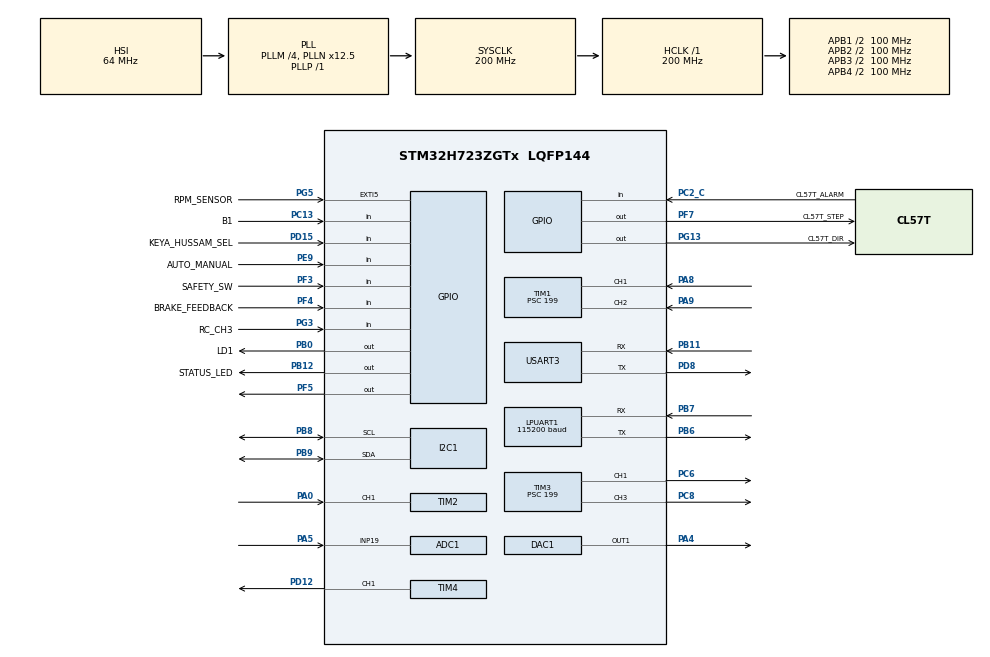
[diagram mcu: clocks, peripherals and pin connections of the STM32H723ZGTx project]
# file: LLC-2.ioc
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ADC1.Channel-1\#ChannelRegularConversion=ADC_CHANNEL_19
ADC1.ContinuousConvMode=ENABLE
ADC1.NbrOfConversionFlag=1
ADC1.OffsetNumber-1\#ChannelRegularConversion=ADC_OFFSET_NONE
ADC1.OffsetSignedSaturation-1\#ChannelRegularConversion=DISABLE
ADC1.Rank-1\#ChannelRegularConversion=1
ADC1.SamplingTime-1\#ChannelRegularConversion=ADC_SAMPLETIME_810CYCLES_5
ADC1.master=1
CORTEX_M7.default_mode_Activation=1
DAC1.DAC_Channel-DAC_OUT1=DAC_CHANNEL_1
I2C1.I2C_Coeff_DF=4
I2C1.Speed=50
I2C1.Timing=0x40408DFD
LPUART1.BaudRate=115200
Mcu.Family=STM32H7
Mcu.Name=STM32H723ZGTx
Mcu.Package=LQFP144
NVIC.LPUART1_IRQn=true\:0\:0\:false\:false\:true\:true\:true\:true
NVIC.PriorityGroup=NVIC_PRIORITYGROUP_4
NVIC.TIM17_IRQn=true\:0\:0\:false\:false\:true\:true\:true\:true
NVIC.TIM1_CC_IRQn=true\:0\:0\:false\:false\:true\:true\:true\:true
NVIC.TIM2_IRQn=true\:1\:0\:true\:false\:true\:true\:true\:true
PA0.GPIO_PuPd=GPIO_NOPULL
PA0.GPIO_Speed=GPIO_SPEED_FREQ_VERY_HIGH
PA0.Signal=S_TIM2_CH1_ETR
PA4.Signal=COMP_DAC11_group
PA5.Signal=ADCx_INP19
PA8.Signal=S_TIM1_CH1
PA9.Signal=S_TIM1_CH2
PB0.GPIO_Label=LD1
PB0.Signal=GPIO_Output
PB11.Mode=Asynchronous
PB11.Signal=USART3_RX
PB12.GPIO_Label=STATUS_LED
PB12.Signal=GPIO_Output
PB6.Mode=Asynchronous
PB6.Signal=LPUART1_TX
PB7.Mode=Asynchronous
PB7.Signal=LPUART1_RX
PB8.Mode=I2C
PB8.Signal=I2C1_SCL
PB9.Mode=I2C
PB9.Signal=I2C1_SDA
PC13.GPIO_Label=B1
PC13.GPIO_PuPd=GPIO_NOPULL
PC13.Signal=GPIO_Input
PC2_C.GPIO_Label=CL57T_ALARM
PC2_C.GPIO_PuPd=GPIO_PULLUP
PC2_C.Signal=GPIO_Input
PC6.Signal=S_TIM3_CH1
PC8.Signal=S_TIM3_CH3
PD12.Signal=S_TIM4_CH1
PD15.GPIO_Label=KEYA_HUSSAM_SEL
PD15.Signal=GPIO_Input
PD8.Mode=Asynchronous
PD8.Signal=USART3_TX
PE9.GPIO_Label=AUTO_MANUAL
PE9.GPIO_PuPd=GPIO_PULLDOWN
PE9.Signal=GPIO_Input
PF3.GPIO_Label=SAFETY_SW
PF3.GPIO_PuPd=GPIO_PULLDOWN
PF3.Signal=GPIO_Input
PF4.GPIO_Label=BRAKE_FEEDBACK
PF4.GPIO_PuPd=GPIO_PULLDOWN
PF4.Signal=GPIO_Input
PF5.Signal=GPIO_Output
PF7.GPIO_Label=CL57T_STEP
PF7.Signal=GPIO_Output
PG13.GPIO_Label=CL57T_DIR
PG13.Signal=GPIO_Output
PG3.GPIO_Label=RC_CH3
PG3.GPIO_PuPd=GPIO_PULLDOWN
PG3.Signal=GPIO_Input
PG5.GPIO_Label=RPM_SENSOR
PG5.GPIO_ModeDefaultEXTI=GPIO_MODE_IT_RISING
PG5.Signal=GPXTI5
PH0-OSC_IN.Mode=HSE-External-Oscillator
PH0-OSC_IN.Signal=RCC_OSC_IN
PH1-OSC_OUT.Mode=HSE-External-Oscillator
PH1-OSC_OUT.Signal=RCC_OSC_OUT
ProjectManager.HeapSize=0x200
ProjectManager.StackSize=0x400
ProjectManager.TargetToolchain=STM32CubeIDE
RCC.ADCFreq_Value=129000000
RCC.APB1Freq_Value=100000000
RCC.APB2Freq_Value=100000000
RCC.APB3Freq_Value=100000000
RCC.APB4Freq_Value=100000000
RCC.CortexFreq_Value=200000000
RCC.D1PPRE=RCC_APB3_DIV2
RCC.D2PPRE1=RCC_APB1_DIV2
RCC.D2PPRE2=RCC_APB2_DIV2
RCC.D3PPRE=RCC_APB4_DIV2
RCC.DIVM1=4
RCC.DIVN1=12
RCC.DIVP1=1
RCC.HCLKFreq_Value=200000000
RCC.HSE_VALUE=25000000
RCC.PLL2FRACN=0
RCC.PLL3FRACN=0
RCC.PLLFRACN=4096
RCC.SYSCLKFreq_VALUE=200000000
RCC.SYSCLKSource=RCC_SYSCLKSOURCE_PLLCLK
RCC.USBFreq_Value=100000000
SH.ADCx_INP19.0=ADC1_INP19,IN19-Single-Ended
SH.COMP_DAC11_group.0=DAC1_OUT1,DAC_OUT1
SH.S_TIM1_CH1.0=TIM1_CH1,Input_Capture1_from_TI1
SH.S_TIM1_CH2.0=TIM1_CH2,Input_Capture2_from_TI2
SH.S_TIM2_CH1_ETR.0=TIM2_CH1,Input_Capture1_from_TI1
SH.S_TIM3_CH1.0=TIM3_CH1,PWM Generation1 CH1
SH.S_TIM3_CH3.0=TIM3_CH3,PWM Generation3 CH3
SH.S_TIM4_CH1.0=TIM4_CH1,PWM Generation1 CH1
TIM1.AutoReloadPreload=TIM_AUTORELOAD_PRELOAD_ENABLE
TIM1.Channel-Input_Capture1_from_TI1=TIM_CHANNEL_1
TIM1.Channel-Input_Capture2_from_TI2=TIM_CHANNEL_2
TIM1.ICPolarity_CH1=TIM_INPUTCHANNELPOLARITY_BOTHEDGE
TIM1.ICPolarity_CH2=TIM_INPUTCHANNELPOLARITY_BOTHEDGE
TIM1.Prescaler=199
TIM17.AutoReloadPreload=TIM_AUTORELOAD_PRELOAD_ENABLE
TIM17.Period=999
TIM17.Prescaler=199
TIM2.AutoReloadPreload=TIM_AUTORELOAD_PRELOAD_ENABLE
TIM2.Channel-Input_Capture1_from_TI1=TIM_CHANNEL_1
TIM2.Prescaler=199
TIM3.AutoReloadPreload=TIM_AUTORELOAD_PRELOAD_ENABLE
TIM3.Channel-PWM\ Generation1\ CH1=TIM_CHANNEL_1
TIM3.Channel-PWM\ Generation3\ CH3=TIM_CHANNEL_3
TIM3.OCPolarity_3=TIM_OCPOLARITY_LOW
TIM3.Period=19999
TIM3.Prescaler=199
TIM3.Pulse-PWM\ Generation1\ CH1=1500
TIM4.AutoReloadPreload=TIM_AUTORELOAD_PRELOAD_ENABLE
TIM4.Channel-PWM\ Generation1\ CH1=TIM_CHANNEL_1
TIM4.OCPolarity_1=TIM_OCPOLARITY_LOW
TIM4.Period=999
TIM4.Prescaler=199
TIM4.Pulse-PWM\ Generation1\ CH1=500
USART3.VirtualMode-Asynchronous=VM_ASYNC
VP_MEMORYMAP_VS_MEMORYMAP.Mode=CurAppReg
VP_TIM17_VS_ClockSourceINT.Mode=Enable_Timer
board=custom

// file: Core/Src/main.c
/* USER CODE BEGIN Header */
/**
  ******************************************************************************
  * @file           : main.c
  * @brief          : Main program body
  ******************************************************************************
  * @attention
  *
  * Copyright (c) 2026 STMicroelectronics.
  * All rights reserved.
  *
  * This software is licensed under terms that can be found in the LICENSE file
  * in the root directory of this software component.
  * If no LICENSE file comes with this software, it is provided AS-IS.
  *
  ******************************************************************************
  */
/* USER CODE END Header */
#include "main.h"

/* USER CODE BEGIN Includes */
#include <stdio.h>
/* USER CODE END Includes */

/* USER CODE BEGIN PD */
#define STEERING_ZERO_DEG   -32.0f
#define STEERING_LEFT_DEG   -57.0f  // -32 - 25 = -57
#define STEERING_RIGHT_DEG   -7.0f  // -32 + 25 = -7
/* USER CODE END PD */

ADC_HandleTypeDef hadc1;

DAC_HandleTypeDef hdac1;

I2C_HandleTypeDef hi2c1;

UART_HandleTypeDef hlpuart1;
UART_HandleTypeDef huart3;

TIM_HandleTypeDef htim1;
TIM_HandleTypeDef htim2;
TIM_HandleTypeDef htim3;
TIM_HandleTypeDef htim4;
TIM_HandleTypeDef htim17;

/* USER CODE BEGIN PV */

uint32_t startup_lockout_ms = 3000; // ignore RC for 3s after boot

volatile uint32_t rc_ch2_rising = 0;
volatile uint32_t rc_ch2_pulse = 0;
volatile uint8_t rc_ch2_ready = 0;

volatile uint32_t rc_ch1_rising = 0;
volatile uint32_t rc_ch1_pulse = 0;
volatile uint8_t rc_ch1_ready = 0;

volatile int32_t stepper_position = 0;
volatile int32_t stepper_target = 0;
volatile uint32_t stepper_delay_us = 500;

// Speed measurement
#define PULSES_PER_REV       4
#define WHEEL_CIRCUMFERENCE  1.52f
#define SPEED_TIMEOUT_MS     500

volatile uint32_t rpm_pulse_count = 0;
volatile uint32_t rpm_last_tick = 0;
volatile uint32_t rpm_last_interval_us = 0;
volatile uint32_t rpm_pulse_pending = 0;

float speed_kmh = 0.0f;
float speed_rpm = 0.0f;
float distance_km = 0.0f;
volatile uint32_t total_pulses = 0;

volatile uint32_t tim2_last_capture = 0;
volatile uint32_t tim2_interval_us = 0;
volatile uint8_t tim2_new_pulse = 0;

volatile uint8_t tim2_led_pulse = 0;

volatile uint8_t uart_tx_busy = 0;

// Jetson UART protocol
#define JETSON_START_BYTE   0xAA
#define JETSON_FRAME_LEN    5
#define CMD_IDLE            0x00
#define CMD_THROTTLE        0x01
#define CMD_BRAKE           0x02
#define CMD_STEER 0x03
#define JETSON_WATCHDOG_MS  200

uint8_t jetson_rx_buf[1];           // single byte DMA/interrupt receive
uint8_t jetson_frame[5];            // assembled frame
uint8_t jetson_frame_idx = 0;       // current byte index
volatile uint32_t jetson_last_valid = 0; // last valid frame timestamp
volatile uint8_t jetson_active = 0; // 1 = jetson control, 0 = manual/idle

uint16_t as5600_angle_raw = 0;
float as5600_angle_deg = 0.0f;

#define AS5600_ZERO_OFFSET 0

volatile uint8_t speed_tx_pending = 0;
uint8_t speed_tx_buf[5];

uint8_t led_effects_enabled = 0; // 1 = situational flashing, 0 = always steady ON

uint8_t clutch_state = 0;

float target_speed_kmh = 0.0f;
float speed_error_integral = 0.0f;
#define SPEED_KP 90.0f
#define SPEED_KI 180.0f
#define SPEED_MAX_KMH 30.0f

#define JETSON_STEER_MAX_DEG 25.0f
float smoothed_target_angle = 0.0f;
#define STEER_SMOOTH_RATE 25.0f
float actual_angle_deg = 0.0f;
float target_angle_deg = 0.0f;

float displayed_target_speed = 0.0f; // rate-limited version

/* USER CODE END PV */

void SystemClock_Config(void);
static void MPU_Config(void);
static void MX_GPIO_Init(void);
static void MX_DAC1_Init(void);
static void MX_I2C1_Init(void);
static void MX_LPUART1_UART_Init(void);
static void MX_TIM1_Init(void);
static void MX_TIM3_Init(void);
static void MX_TIM4_Init(void);
static void MX_USART3_UART_Init(void);
static void MX_ADC1_Init(void);
static void MX_TIM17_Init(void);
static void MX_TIM2_Init(void);

/* USER CODE BEGIN PFP */
void update_speed(void);
uint16_t AS5600_ReadAngle(void);
uint8_t crc8_smbus(uint8_t *data, uint8_t len);
/* USER CODE END PFP */

/* USER CODE BEGIN 0 */
#define DWT_DELAY_US(us) do { \
    uint32_t start = DWT->CYCCNT; \
    uint32_t cycles = (us) * (SystemCoreClock / 1000000); \
    while ((DWT->CYCCNT - start) < cycles); \
} while(0)
/* USER CODE END 0 */

int main(void)
{

  /* MPU Configuration--------------------------------------------------------*/
  MPU_Config();

  /* MCU Configuration--------------------------------------------------------*/

  /* Reset of all peripherals, Initializes the Flash interface and the Systick. */
  HAL_Init();

  /* Configure the system clock */
  SystemClock_Config();

  /* Initialize all configured peripherals */
  MX_GPIO_Init();
  MX_DAC1_Init();
  MX_I2C1_Init();
  MX_LPUART1_UART_Init();
  MX_TIM1_Init();
  MX_TIM3_Init();
  MX_TIM4_Init();
  MX_USART3_UART_Init();
  MX_ADC1_Init();
  MX_TIM17_Init();
  MX_TIM2_Init();
  /* USER CODE BEGIN 2 */
//  HAL_TIM_PWM_Start(&htim3, TIM_CHANNEL_3);
//  __HAL_TIM_SET_COMPARE(&htim3, TIM_CHANNEL_3, 1500); // neutral arm
//  HAL_Delay(2000);
//  __HAL_TIM_SET_COMPARE(&htim3, TIM_CHANNEL_3, 0);

  HAL_DAC_Start(&hdac1, DAC_CHANNEL_1);
  HAL_TIM_IC_Start_IT(&htim1, TIM_CHANNEL_1);
  HAL_TIM_IC_Start_IT(&htim1, TIM_CHANNEL_2);
  HAL_TIM_PWM_Start(&htim3, TIM_CHANNEL_1);
  __HAL_TIM_SET_COMPARE(&htim3, TIM_CHANNEL_1, 1833);
  HAL_TIM_PWM_Start(&htim3, TIM_CHANNEL_3);
  HAL_TIM_IC_Start_IT(&htim2, TIM_CHANNEL_1);
  HAL_TIM_Base_Start_IT(&htim17);  // stepper timer interrupt

  CoreDebug->DEMCR |= CoreDebug_DEMCR_TRCENA_Msk;
  DWT->CYCCNT = 0;
  DWT->CTRL |= DWT_CTRL_CYCCNTENA_Msk;

  rpm_last_tick = HAL_GetTick();

  HAL_UART_Receive_IT(&hlpuart1, jetson_rx_buf, 1);  // start UART receive interrupt

  // Safety startup delay — hold all outputs at zero for 2 seconds
  target_speed_kmh = 0.0f;
  speed_error_integral = 0.0f;
  jetson_active = 0;
  __HAL_TIM_SET_COMPARE(&htim3, TIM_CHANNEL_3, 0);
  __HAL_TIM_SET_COMPARE(&htim3, TIM_CHANNEL_1, 1833);
  HAL_Delay(2000);
  /* USER CODE END 2 */

  /* Infinite loop */
  while (1)
  {

    /* USER CODE BEGIN 3 */

	  // Status LED — brake/throttle/idle indicator
	  // Status LED
	  static uint32_t led_blink_last = 0;

	  if (!led_effects_enabled)
	  {
	      // Always steady ON
	      HAL_GPIO_WritePin(STATUS_LED_GPIO_Port, STATUS_LED_Pin, GPIO_PIN_SET);
	  }
	  else if (!jetson_active)
	  {
	      // IDLE mode — slow flash 500ms
	      if (HAL_GetTick() - led_blink_last > 500)
	      {
	          led_blink_last = HAL_GetTick();
	          HAL_GPIO_TogglePin(STATUS_LED_GPIO_Port, STATUS_LED_Pin);
	      }
	  }
	  else if (__HAL_TIM_GET_COMPARE(&htim3, TIM_CHANNEL_1) > 1200)
	  {
	      // Brake active — flash 250ms
	      if (HAL_GetTick() - led_blink_last > 250)
	      {
	          led_blink_last = HAL_GetTick();
	          HAL_GPIO_TogglePin(STATUS_LED_GPIO_Port, STATUS_LED_Pin);
	      }
	  }
	  else if (speed_kmh > 0.5f)
	  {
	      // Running — solid ON
	      HAL_GPIO_WritePin(STATUS_LED_GPIO_Port, STATUS_LED_Pin, GPIO_PIN_SET);
	  }
	  else
	  {
	      // Full stop — solid ON
	      HAL_GPIO_WritePin(STATUS_LED_GPIO_Port, STATUS_LED_Pin, GPIO_PIN_SET);
	  }

	  // Send speed to Jetson + serial monitor every 100ms
	  static uint32_t last_speed_tx = 0;
	  if (HAL_GetTick() - last_speed_tx > 500)
	  {
	      last_speed_tx = HAL_GetTick();
	      printf("Target: %d.%02d | Actual: %d.%02d km/h | Angle: %d deg | SteerTarget: %d | tick:%lu\r\n",
	             (int)target_speed_kmh,
	             (int)((target_speed_kmh - (int)target_speed_kmh) * 100),
	             (int)speed_kmh,
	             (int)((speed_kmh - (int)speed_kmh) * 100),
	             (int)actual_angle_deg,
	             (int)target_angle_deg,
	             HAL_GetTick());

	      uint8_t speed_byte = (uint8_t)(speed_kmh * 10.0f);
	      uint8_t payload[3] = {0x02, 0x10, speed_byte};
	      uint8_t crc = crc8_smbus(payload, 3);
	      speed_tx_buf[0] = 0xBB;
	      speed_tx_buf[1] = 0x02;
	      speed_tx_buf[2] = 0x10;
	      speed_tx_buf[3] = speed_byte;
	      speed_tx_buf[4] = crc;
	      speed_tx_pending = 1;
	  }

	  if (speed_tx_pending && !uart_tx_busy)
	  {
	      speed_tx_pending = 0;
	      uart_tx_busy = 1;
	      HAL_UART_Transmit_IT(&hlpuart1, speed_tx_buf, 5);
	  }

	  // AS5600 angle read + steering PD controller
	  static uint32_t last_angle_read = 0;
	  if (HAL_GetTick() - last_angle_read > 10)
	  {
	      last_angle_read = HAL_GetTick();
	      as5600_angle_raw = AS5600_ReadAngle();
	      int16_t raw_signed = (int16_t)as5600_angle_raw;
	      if (raw_signed > 2048) raw_signed -= 4096;
	      actual_angle_deg = (raw_signed * 360.0f / 4096.0f) - STEERING_ZERO_DEG;

	      // Smooth target angle changes
	      if (target_angle_deg > smoothed_target_angle + STEER_SMOOTH_RATE)
	          smoothed_target_angle += STEER_SMOOTH_RATE;
	      else if (target_angle_deg < smoothed_target_angle - STEER_SMOOTH_RATE)
	          smoothed_target_angle -= STEER_SMOOTH_RATE;
	      else
	          smoothed_target_angle = target_angle_deg;

	      // Don't let smoothed target get more than 5° ahead of actual
	      float max_lead = 20.0f;
	      if (smoothed_target_angle > actual_angle_deg + max_lead)
	          smoothed_target_angle = actual_angle_deg + max_lead;
	      if (smoothed_target_angle < actual_angle_deg - max_lead)
	          smoothed_target_angle = actual_angle_deg - max_lead;

	      // Clamp to physical limits
	      float left_limit  = STEERING_LEFT_DEG  - STEERING_ZERO_DEG;
	      float right_limit = STEERING_RIGHT_DEG - STEERING_ZERO_DEG;
	      if (smoothed_target_angle < left_limit)  smoothed_target_angle = left_limit;
	      if (smoothed_target_angle > right_limit) smoothed_target_angle = right_limit;

	      if (jetson_active)
	      {
	          static float last_error = 0.0f;
	          float error = smoothed_target_angle - actual_angle_deg;
	          float derivative = error - last_error;
	          last_error = error;

	          float Kp = 15.0f;
	          float Kd = 0.0f;
	          float output = Kp * error + Kd * derivative;

	          // Clamp output to ±100 (like RC pulse range)
	          if (output > 100.0f)  output = 100.0f;
	          if (output < -100.0f) output = -100.0f;

	          float abs_output = output < 0 ? -output : output;

	          if (abs_output > 18.0f) // deadband
	          {
	              // Map output 2-100 → delay 200-30µs
	              uint32_t delay = (uint32_t)(300.0f - ((abs_output - 18.0f) / 98.0f) * 300.0f);
	              if (delay < 200)  delay = 200;
	              if (delay > 500) delay = 500;

	              int8_t new_direction = (output > 0) ? -1 : 1;

	              // Direction change — kick to overcome backlash
	              static int8_t last_direction = 0;
	              static uint32_t kick_start = 0;
	              static uint8_t kicking = 0;

	              if (new_direction != last_direction && last_direction != 0)
	              {
	                  kicking = 1;
	                  kick_start = HAL_GetTick();
	              }
	              last_direction = new_direction;

	              if (kicking)
	              {
	                  delay = 10; // full speed during kick *changed - was 30
	                  if (HAL_GetTick() - kick_start > 80) // kick lasts 80ms
	                      kicking = 0;
	              }

	              stepper_delay_us = delay;
	              stepper_target = new_direction;
	          }
	          else
	          {
	              stepper_target = 0;
	              stepper_delay_us = 200;
	          }
	      }
	  }

	  HAL_GPIO_WritePin(LD1_GPIO_Port, LD1_Pin,
	      actual_angle_deg > 0.0f ? GPIO_PIN_SET : GPIO_PIN_RESET);

	  update_speed();

	  // RC CH1 → stepper — encoder limited

	  if (!jetson_active && rc_ch1_ready && HAL_GetTick() > startup_lockout_ms)
	  {
	      rc_ch1_ready = 0;
	      uint32_t pulse = rc_ch1_pulse;

	      if (pulse >= 800 && pulse <= 2200)
	      {
	          if (pulse < 1000) pulse = 1000;
	          if (pulse > 2000) pulse = 2000;

	          if (pulse > 1550)
	          {
	              stepper_target = 1;
	              stepper_delay_us = 500 - ((pulse - 1550) * (500 - 50)) / 450;
	          }
	          else if (pulse < 1450)
	          {
	              stepper_target = -1;
	              stepper_delay_us = 500 - ((1450 - pulse) * (500 - 50)) / 450;
	          }
	          else
	          {
	              stepper_target = 0;
	              stepper_delay_us = 500;
	          }
	      }
	  }

	  if (!clutch_state)
	      stepper_target = 0;

	  // RC CH2 → Keya throttle + brake servo
	  if (rc_ch2_ready && HAL_GetTick() > startup_lockout_ms)
	  {
	      rc_ch2_ready = 0;
	      uint32_t pulse = rc_ch2_pulse;
	      uint32_t servo_ccr;

	      if (pulse >= 800 && pulse <= 2200)
	      {
	          if (pulse < 1450)
	          {
	              jetson_active = 0;
	              target_speed_kmh = 0.0f;
	              speed_error_integral = 0.0f;
	              displayed_target_speed = 0.0f;
	              __HAL_TIM_SET_COMPARE(&htim3, TIM_CHANNEL_3, 0);
	              if (pulse < 1000) pulse = 1000;
	              servo_ccr = 1833 - ((1450 - pulse) * (1833 - 500)) / 450;
	              static uint32_t last_servo_ccr = 500;
	              if (servo_ccr > last_servo_ccr + 20 || servo_ccr + 20 < last_servo_ccr)
	              {
	                  __HAL_TIM_SET_COMPARE(&htim3, TIM_CHANNEL_1, servo_ccr);
	                  last_servo_ccr = servo_ccr;
	              }
	          }
	          else if (!jetson_active)
	          {
	              if (pulse > 2000) pulse = 2000;
	              target_speed_kmh = pulse > 1500 ?
	                  ((pulse - 1500) * SPEED_MAX_KMH) / 500.0f : 0.0f;

	              servo_ccr = 500;
	              static uint32_t last_servo_ccr2 = 500;
	              if (servo_ccr > last_servo_ccr2 + 20 || servo_ccr + 20 < last_servo_ccr2)
	              {
	                  __HAL_TIM_SET_COMPARE(&htim3, TIM_CHANNEL_1, servo_ccr);
	                  last_servo_ccr2 = servo_ccr;
	              }
	          }
	      }
	  }
	  else
	  {
	      rc_ch2_ready = 0;
	      if (HAL_GetTick() <= startup_lockout_ms)
	      {
	          target_speed_kmh = 0.0f;
	          speed_error_integral = 0.0f;
	          displayed_target_speed = 0.0f;
	      }
	  }

	  // PI speed controller — runs every 20ms, outside RC block
	  static uint32_t last_pi_tick = 0;
	  if (HAL_GetTick() - last_pi_tick >= 20)
	  {
	      last_pi_tick = HAL_GetTick();

	      // Rate limit target
	      float max_step = 2.0f;
	      if (target_speed_kmh > displayed_target_speed + max_step)
	          displayed_target_speed += max_step;
	      else if (target_speed_kmh < displayed_target_speed - max_step)
	          displayed_target_speed -= max_step;
	      else
	          displayed_target_speed = target_speed_kmh;

	      float speed_error = displayed_target_speed - speed_kmh;

	      if (displayed_target_speed < 0.5f)
	      {
	          speed_error_integral = 0.0f;
	          __HAL_TIM_SET_COMPARE(&htim3, TIM_CHANNEL_3, 0);
	      }
	      else
	      {
	          speed_error_integral += speed_error * 0.02f;
	          if (speed_error_integral > 19999.0f) speed_error_integral = 19999.0f;
	          if (speed_error_integral < 0.0f) speed_error_integral = 0.0f;
	          float output = SPEED_KP * speed_error + SPEED_KI * speed_error_integral;
	          if (output > 19999.0f) output = 19999.0f;
	          if (output < 0.0f) output = 0.0f;
	          __HAL_TIM_SET_COMPARE(&htim3, TIM_CHANNEL_3, (uint32_t)output);
	      }
	  }

	  // B1 button → EM clutch toggle
	  static uint8_t last_b1 = 0;
	  uint8_t b1 = HAL_GPIO_ReadPin(GPIOC, GPIO_PIN_13);

	  if (b1 == GPIO_PIN_SET && last_b1 == GPIO_PIN_RESET)
	  {
	      clutch_state = !clutch_state;
	      HAL_GPIO_WritePin(GPIOF, GPIO_PIN_5, clutch_state ? GPIO_PIN_SET : GPIO_PIN_RESET);

	      // Release brake when clutch disengages
	      if (!clutch_state)
	      {
	          target_speed_kmh = 0.0f;
	          speed_error_integral = 0.0f;
	          __HAL_TIM_SET_COMPARE(&htim3, TIM_CHANNEL_3, 0);
	          __HAL_TIM_SET_COMPARE(&htim3, TIM_CHANNEL_1, 1833);
	      }
	  }
	  last_b1 = b1;

	  // Jetson watchdog **changed (added watchdog)
//	  if (jetson_active && (HAL_GetTick() - jetson_last_valid > JETSON_WATCHDOG_MS))
//	  {
//	      jetson_active = 0;
//	      target_speed_kmh = 0.0f;
//	      speed_error_integral = 0.0f;
//	      displayed_target_speed = 0.0f;
//	      target_angle_deg = 0.0f;
//	      smoothed_target_angle = 0.0f;
//	      stepper_target = 0;
//	      __HAL_TIM_SET_COMPARE(&htim3, TIM_CHANNEL_3, 0);
//	      __HAL_TIM_SET_COMPARE(&htim3, TIM_CHANNEL_1, 1833);
//	  }

  }
  /* USER CODE END 3 */
}

void SystemClock_Config(void)
{
  RCC_OscInitTypeDef RCC_OscInitStruct = {0};
  RCC_ClkInitTypeDef RCC_ClkInitStruct = {0};

  /** Supply configuration update enable
  */
  HAL_PWREx_ConfigSupply(PWR_LDO_SUPPLY);

  /** Configure the main internal regulator output voltage
  */
  __HAL_PWR_VOLTAGESCALING_CONFIG(PWR_REGULATOR_VOLTAGE_SCALE1);

  while(!__HAL_PWR_GET_FLAG(PWR_FLAG_VOSRDY)) {}

  /** Initializes the RCC Oscillators according to the specified parameters
  * in the RCC_OscInitTypeDef structure.
  */
  RCC_OscInitStruct.OscillatorType = RCC_OSCILLATORTYPE_HSI;
  RCC_OscInitStruct.HSIState = RCC_HSI_DIV1;
  RCC_OscInitStruct.HSICalibrationValue = 64;
  RCC_OscInitStruct.PLL.PLLState = RCC_PLL_ON;
  RCC_OscInitStruct.PLL.PLLSource = RCC_PLLSOURCE_HSI;
  RCC_OscInitStruct.PLL.PLLM = 4;
  RCC_OscInitStruct.PLL.PLLN = 12;
  RCC_OscInitStruct.PLL.PLLP = 1;
  RCC_OscInitStruct.PLL.PLLQ = 2;
  RCC_OscInitStruct.PLL.PLLR = 2;
  RCC_OscInitStruct.PLL.PLLRGE = RCC_PLL1VCIRANGE_3;
  RCC_OscInitStruct.PLL.PLLVCOSEL = RCC_PLL1VCOWIDE;
  RCC_OscInitStruct.PLL.PLLFRACN = 4096;
  if (HAL_RCC_OscConfig(&RCC_OscInitStruct) != HAL_OK)
  {
    Error_Handler();
  }

  /** Initializes the CPU, AHB and APB buses clocks
  */
  RCC_ClkInitStruct.ClockType = RCC_CLOCKTYPE_HCLK|RCC_CLOCKTYPE_SYSCLK
                              |RCC_CLOCKTYPE_PCLK1|RCC_CLOCKTYPE_PCLK2
                              |RCC_CLOCKTYPE_D3PCLK1|RCC_CLOCKTYPE_D1PCLK1;
  RCC_ClkInitStruct.SYSCLKSource = RCC_SYSCLKSOURCE_PLLCLK;
  RCC_ClkInitStruct.SYSCLKDivider = RCC_SYSCLK_DIV1;
  RCC_ClkInitStruct.AHBCLKDivider = RCC_HCLK_DIV1;
  RCC_ClkInitStruct.APB3CLKDivider = RCC_APB3_DIV2;
  RCC_ClkInitStruct.APB1CLKDivider = RCC_APB1_DIV2;
  RCC_ClkInitStruct.APB2CLKDivider = RCC_APB2_DIV2;
  RCC_ClkInitStruct.APB4CLKDivider = RCC_APB4_DIV2;

  if (HAL_RCC_ClockConfig(&RCC_ClkInitStruct, FLASH_LATENCY_2) != HAL_OK)
  {
    Error_Handler();
  }
}

static void MX_ADC1_Init(void)
{

  ADC_MultiModeTypeDef multimode = {0};
  ADC_ChannelConfTypeDef sConfig = {0};

  /** Common config
  */
  hadc1.Instance = ADC1;
  hadc1.Init.ClockPrescaler = ADC_CLOCK_ASYNC_DIV1;
  hadc1.Init.Resolution = ADC_RESOLUTION_16B;
  hadc1.Init.ScanConvMode = ADC_SCAN_DISABLE;
  hadc1.Init.EOCSelection = ADC_EOC_SINGLE_CONV;
  hadc1.Init.LowPowerAutoWait = DISABLE;
  hadc1.Init.ContinuousConvMode = ENABLE;
  hadc1.Init.NbrOfConversion = 1;
  hadc1.Init.DiscontinuousConvMode = DISABLE;
  hadc1.Init.ExternalTrigConv = ADC_SOFTWARE_START;
  hadc1.Init.ExternalTrigConvEdge = ADC_EXTERNALTRIGCONVEDGE_NONE;
  hadc1.Init.ConversionDataManagement = ADC_CONVERSIONDATA_DR;
  hadc1.Init.Overrun = ADC_OVR_DATA_PRESERVED;
  hadc1.Init.LeftBitShift = ADC_LEFTBITSHIFT_NONE;
  hadc1.Init.OversamplingMode = DISABLE;
  hadc1.Init.Oversampling.Ratio = 1;
  if (HAL_ADC_Init(&hadc1) != HAL_OK)
  {
    Error_Handler();
  }

  /** Configure the ADC multi-mode
  */
  multimode.Mode = ADC_MODE_INDEPENDENT;
  if (HAL_ADCEx_MultiModeConfigChannel(&hadc1, &multimode) != HAL_OK)
  {
    Error_Handler();
  }

  /** Configure Regular Channel
  */
  sConfig.Channel = ADC_CHANNEL_19;
  sConfig.Rank = ADC_REGULAR_RANK_1;
  sConfig.SamplingTime = ADC_SAMPLETIME_810CYCLES_5;
  sConfig.SingleDiff = ADC_SINGLE_ENDED;
  sConfig.OffsetNumber = ADC_OFFSET_NONE;
  sConfig.Offset = 0;
  sConfig.OffsetSignedSaturation = DISABLE;
  if (HAL_ADC_ConfigChannel(&hadc1, &sConfig) != HAL_OK)
  {
    Error_Handler();
  }

}

static void MX_DAC1_Init(void)
{

  DAC_ChannelConfTypeDef sConfig = {0};

  /** DAC Initialization
  */
  hdac1.Instance = DAC1;
  if (HAL_DAC_Init(&hdac1) != HAL_OK)
  {
    Error_Handler();
  }

  /** DAC channel OUT1 config
  */
  sConfig.DAC_SampleAndHold = DAC_SAMPLEANDHOLD_DISABLE;
  sConfig.DAC_Trigger = DAC_TRIGGER_NONE;
  sConfig.DAC_OutputBuffer = DAC_OUTPUTBUFFER_ENABLE;
  sConfig.DAC_ConnectOnChipPeripheral = DAC_CHIPCONNECT_DISABLE;
  sConfig.DAC_UserTrimming = DAC_TRIMMING_FACTORY;
  if (HAL_DAC_ConfigChannel(&hdac1, &sConfig, DAC_CHANNEL_1) != HAL_OK)
  {
    Error_Handler();
  }

}

static void MX_I2C1_Init(void)
{

  hi2c1.Instance = I2C1;
  hi2c1.Init.Timing = 0x10C0ECFF;
  hi2c1.Init.OwnAddress1 = 0;
  hi2c1.Init.AddressingMode = I2C_ADDRESSINGMODE_7BIT;
  hi2c1.Init.DualAddressMode = I2C_DUALADDRESS_DISABLE;
  hi2c1.Init.OwnAddress2 = 0;
  hi2c1.Init.OwnAddress2Masks = I2C_OA2_NOMASK;
  hi2c1.Init.GeneralCallMode = I2C_GENERALCALL_DISABLE;
  hi2c1.Init.NoStretchMode = I2C_NOSTRETCH_DISABLE;
  if (HAL_I2C_Init(&hi2c1) != HAL_OK)
  {
    Error_Handler();
  }

  /** Configure Analogue filter
  */
  if (HAL_I2CEx_ConfigAnalogFilter(&hi2c1, I2C_ANALOGFILTER_ENABLE) != HAL_OK)
  {
    Error_Handler();
  }

  /** Configure Digital filter
  */
  if (HAL_I2CEx_ConfigDigitalFilter(&hi2c1, 0) != HAL_OK)
  {
    Error_Handler();
  }

}

static void MX_LPUART1_UART_Init(void)
{

  hlpuart1.Instance = LPUART1;
  hlpuart1.Init.BaudRate = 115200;
  hlpuart1.Init.WordLength = UART_WORDLENGTH_8B;
  hlpuart1.Init.StopBits = UART_STOPBITS_1;
  hlpuart1.Init.Parity = UART_PARITY_NONE;
  hlpuart1.Init.Mode = UART_MODE_TX_RX;
  hlpuart1.Init.HwFlowCtl = UART_HWCONTROL_NONE;
  hlpuart1.Init.OneBitSampling = UART_ONE_BIT_SAMPLE_DISABLE;
  hlpuart1.Init.ClockPrescaler = UART_PRESCALER_DIV1;
  hlpuart1.AdvancedInit.AdvFeatureInit = UART_ADVFEATURE_NO_INIT;
  hlpuart1.FifoMode = UART_FIFOMODE_DISABLE;
  if (HAL_UART_Init(&hlpuart1) != HAL_OK)
  {
    Error_Handler();
  }
  if (HAL_UARTEx_SetTxFifoThreshold(&hlpuart1, UART_TXFIFO_THRESHOLD_1_8) != HAL_OK)
  {
    Error_Handler();
  }
  if (HAL_UARTEx_SetRxFifoThreshold(&hlpuart1, UART_RXFIFO_THRESHOLD_1_8) != HAL_OK)
  {
    Error_Handler();
  }
  if (HAL_UARTEx_DisableFifoMode(&hlpuart1) != HAL_OK)
  {
    Error_Handler();
  }

}

static void MX_USART3_UART_Init(void)
{

  huart3.Instance = USART3;
  huart3.Init.BaudRate = 115200;
  huart3.Init.WordLength = UART_WORDLENGTH_8B;
  huart3.Init.StopBits = UART_STOPBITS_1;
  huart3.Init.Parity = UART_PARITY_NONE;
  huart3.Init.Mode = UART_MODE_TX_RX;
  huart3.Init.HwFlowCtl = UART_HWCONTROL_NONE;
  huart3.Init.OverSampling = UART_OVERSAMPLING_16;
  huart3.Init.OneBitSampling = UART_ONE_BIT_SAMPLE_DISABLE;
  huart3.Init.ClockPrescaler = UART_PRESCALER_DIV1;
  huart3.AdvancedInit.AdvFeatureInit = UART_ADVFEATURE_NO_INIT;
  if (HAL_UART_Init(&huart3) != HAL_OK)
  {
    Error_Handler();
  }
  if (HAL_UARTEx_SetTxFifoThreshold(&huart3, UART_TXFIFO_THRESHOLD_1_8) != HAL_OK)
  {
    Error_Handler();
  }
  if (HAL_UARTEx_SetRxFifoThreshold(&huart3, UART_RXFIFO_THRESHOLD_1_8) != HAL_OK)
  {
    Error_Handler();
  }
  if (HAL_UARTEx_DisableFifoMode(&huart3) != HAL_OK)
  {
    Error_Handler();
  }

}

static void MX_TIM1_Init(void)
{

  TIM_MasterConfigTypeDef sMasterConfig = {0};
  TIM_IC_InitTypeDef sConfigIC = {0};

  htim1.Instance = TIM1;
  htim1.Init.Prescaler = 199;
  htim1.Init.CounterMode = TIM_COUNTERMODE_UP;
  htim1.Init.Period = 65535;
  htim1.Init.ClockDivision = TIM_CLOCKDIVISION_DIV1;
  htim1.Init.RepetitionCounter = 0;
  htim1.Init.AutoReloadPreload = TIM_AUTORELOAD_PRELOAD_ENABLE;
  if (HAL_TIM_IC_Init(&htim1) != HAL_OK)
  {
    Error_Handler();
  }
  sMasterConfig.MasterOutputTrigger = TIM_TRGO_RESET;
  sMasterConfig.MasterOutputTrigger2 = TIM_TRGO2_RESET;
  sMasterConfig.MasterSlaveMode = TIM_MASTERSLAVEMODE_DISABLE;
  if (HAL_TIMEx_MasterConfigSynchronization(&htim1, &sMasterConfig) != HAL_OK)
  {
    Error_Handler();
  }
  sConfigIC.ICPolarity = TIM_INPUTCHANNELPOLARITY_BOTHEDGE;
  sConfigIC.ICSelection = TIM_ICSELECTION_DIRECTTI;
  sConfigIC.ICPrescaler = TIM_ICPSC_DIV1;
  sConfigIC.ICFilter = 0;
  if (HAL_TIM_IC_ConfigChannel(&htim1, &sConfigIC, TIM_CHANNEL_1) != HAL_OK)
  {
    Error_Handler();
  }
  if (HAL_TIM_IC_ConfigChannel(&htim1, &sConfigIC, TIM_CHANNEL_2) != HAL_OK)
  {
    Error_Handler();
  }

}

static void MX_TIM2_Init(void)
{

  TIM_MasterConfigTypeDef sMasterConfig = {0};
  TIM_IC_InitTypeDef sConfigIC = {0};

  htim2.Instance = TIM2;
  htim2.Init.Prescaler = 199;
  htim2.Init.CounterMode = TIM_COUNTERMODE_UP;
  htim2.Init.Period = 4294967295;
  htim2.Init.ClockDivision = TIM_CLOCKDIVISION_DIV1;
  htim2.Init.AutoReloadPreload = TIM_AUTORELOAD_PRELOAD_ENABLE;
  if (HAL_TIM_IC_Init(&htim2) != HAL_OK)
  {
    Error_Handler();
  }
  sMasterConfig.MasterOutputTrigger = TIM_TRGO_RESET;
  sMasterConfig.MasterSlaveMode = TIM_MASTERSLAVEMODE_DISABLE;
  if (HAL_TIMEx_MasterConfigSynchronization(&htim2, &sMasterConfig) != HAL_OK)
  {
    Error_Handler();
  }
  sConfigIC.ICPolarity = TIM_INPUTCHANNELPOLARITY_RISING;
  sConfigIC.ICSelection = TIM_ICSELECTION_DIRECTTI;
  sConfigIC.ICPrescaler = TIM_ICPSC_DIV1;
  sConfigIC.ICFilter = 0;
  if (HAL_TIM_IC_ConfigChannel(&htim2, &sConfigIC, TIM_CHANNEL_1) != HAL_OK)
  {
    Error_Handler();
  }

}

static void MX_TIM3_Init(void)
{

  TIM_MasterConfigTypeDef sMasterConfig = {0};
  TIM_OC_InitTypeDef sConfigOC = {0};

  htim3.Instance = TIM3;
  htim3.Init.Prescaler = 199;
  htim3.Init.CounterMode = TIM_COUNTERMODE_UP;
  htim3.Init.Period = 19999;
  htim3.Init.ClockDivision = TIM_CLOCKDIVISION_DIV1;
  htim3.Init.AutoReloadPreload = TIM_AUTORELOAD_PRELOAD_ENABLE;
  if (HAL_TIM_PWM_Init(&htim3) != HAL_OK)
  {
    Error_Handler();
  }
  sMasterConfig.MasterOutputTrigger = TIM_TRGO_RESET;
  sMasterConfig.MasterSlaveMode = TIM_MASTERSLAVEMODE_DISABLE;
  if (HAL_TIMEx_MasterConfigSynchronization(&htim3, &sMasterConfig) != HAL_OK)
  {
    Error_Handler();
  }
  sConfigOC.OCMode = TIM_OCMODE_PWM1;
  sConfigOC.Pulse = 1500;
  sConfigOC.OCPolarity = TIM_OCPOLARITY_HIGH;
  sConfigOC.OCFastMode = TIM_OCFAST_DISABLE;
  if (HAL_TIM_PWM_ConfigChannel(&htim3, &sConfigOC, TIM_CHANNEL_1) != HAL_OK)
  {
    Error_Handler();
  }
  sConfigOC.Pulse = 0;
  sConfigOC.OCPolarity = TIM_OCPOLARITY_LOW;
  if (HAL_TIM_PWM_ConfigChannel(&htim3, &sConfigOC, TIM_CHANNEL_3) != HAL_OK)
  {
    Error_Handler();
  }
  HAL_TIM_MspPostInit(&htim3);

}

static void MX_TIM4_Init(void)
{

  TIM_MasterConfigTypeDef sMasterConfig = {0};
  TIM_OC_InitTypeDef sConfigOC = {0};

  htim4.Instance = TIM4;
  htim4.Init.Prescaler = 199;
  htim4.Init.CounterMode = TIM_COUNTERMODE_UP;
  htim4.Init.Period = 999;
  htim4.Init.ClockDivision = TIM_CLOCKDIVISION_DIV1;
  htim4.Init.AutoReloadPreload = TIM_AUTORELOAD_PRELOAD_ENABLE;
  if (HAL_TIM_PWM_Init(&htim4) != HAL_OK)
  {
    Error_Handler();
  }
  sMasterConfig.MasterOutputTrigger = TIM_TRGO_RESET;
  sMasterConfig.MasterSlaveMode = TIM_MASTERSLAVEMODE_DISABLE;
  if (HAL_TIMEx_MasterConfigSynchronization(&htim4, &sMasterConfig) != HAL_OK)
  {
    Error_Handler();
  }
  sConfigOC.OCMode = TIM_OCMODE_PWM1;
  sConfigOC.Pulse = 500;
  sConfigOC.OCPolarity = TIM_OCPOLARITY_LOW;
  sConfigOC.OCFastMode = TIM_OCFAST_DISABLE;
  if (HAL_TIM_PWM_ConfigChannel(&htim4, &sConfigOC, TIM_CHANNEL_1) != HAL_OK)
  {
    Error_Handler();
  }
  HAL_TIM_MspPostInit(&htim4);

}

static void MX_TIM17_Init(void)
{

  htim17.Instance = TIM17;
  htim17.Init.Prescaler = 199;
  htim17.Init.CounterMode = TIM_COUNTERMODE_UP;
  htim17.Init.Period = 999;
  htim17.Init.ClockDivision = TIM_CLOCKDIVISION_DIV1;
  htim17.Init.RepetitionCounter = 0;
  htim17.Init.AutoReloadPreload = TIM_AUTORELOAD_PRELOAD_ENABLE;
  if (HAL_TIM_Base_Init(&htim17) != HAL_OK)
  {
    Error_Handler();
  }

}

static void MX_GPIO_Init(void)
{
  GPIO_InitTypeDef GPIO_InitStruct = {0};

  /* GPIO Ports Clock Enable */
  __HAL_RCC_GPIOC_CLK_ENABLE();
  __HAL_RCC_GPIOF_CLK_ENABLE();
  __HAL_RCC_GPIOH_CLK_ENABLE();
  __HAL_RCC_GPIOA_CLK_ENABLE();
  __HAL_RCC_GPIOB_CLK_ENABLE();
  __HAL_RCC_GPIOE_CLK_ENABLE();
  __HAL_RCC_GPIOD_CLK_ENABLE();
  __HAL_RCC_GPIOG_CLK_ENABLE();

  /*Configure GPIO pin Output Level */
  HAL_GPIO_WritePin(GPIOF, GPIO_PIN_5|CL57T_STEP_Pin, GPIO_PIN_RESET);

  /*Configure GPIO pin Output Level */
  HAL_GPIO_WritePin(GPIOB, LD1_Pin|STATUS_LED_Pin, GPIO_PIN_RESET);

  /*Configure GPIO pin Output Level */
  HAL_GPIO_WritePin(CL57T_DIR_GPIO_Port, CL57T_DIR_Pin, GPIO_PIN_RESET);

  /*Configure GPIO pin : B1_Pin */
  GPIO_InitStruct.Pin = B1_Pin;
  GPIO_InitStruct.Mode = GPIO_MODE_INPUT;
  GPIO_InitStruct.Pull = GPIO_NOPULL;
  HAL_GPIO_Init(B1_GPIO_Port, &GPIO_InitStruct);

  /*Configure GPIO pins : SAFETY_SW_Pin BRAKE_FEEDBACK_Pin */
  GPIO_InitStruct.Pin = SAFETY_SW_Pin|BRAKE_FEEDBACK_Pin;
  GPIO_InitStruct.Mode = GPIO_MODE_INPUT;
  GPIO_InitStruct.Pull = GPIO_PULLDOWN;
  HAL_GPIO_Init(GPIOF, &GPIO_InitStruct);

  /*Configure GPIO pins : PF5 CL57T_STEP_Pin */
  GPIO_InitStruct.Pin = GPIO_PIN_5|CL57T_STEP_Pin;
  GPIO_InitStruct.Mode = GPIO_MODE_OUTPUT_PP;
  GPIO_InitStruct.Pull = GPIO_NOPULL;
  GPIO_InitStruct.Speed = GPIO_SPEED_FREQ_LOW;
  HAL_GPIO_Init(GPIOF, &GPIO_InitStruct);

  /*Configure GPIO pin : CL57T_ALARM_Pin */
  GPIO_InitStruct.Pin = CL57T_ALARM_Pin;
  GPIO_InitStruct.Mode = GPIO_MODE_INPUT;
  GPIO_InitStruct.Pull = GPIO_PULLUP;
  HAL_GPIO_Init(CL57T_ALARM_GPIO_Port, &GPIO_InitStruct);

  /*Configure GPIO pins : LD1_Pin STATUS_LED_Pin */
  GPIO_InitStruct.Pin = LD1_Pin|STATUS_LED_Pin;
  GPIO_InitStruct.Mode = GPIO_MODE_OUTPUT_PP;
  GPIO_InitStruct.Pull = GPIO_NOPULL;
  GPIO_InitStruct.Speed = GPIO_SPEED_FREQ_LOW;
  HAL_GPIO_Init(GPIOB, &GPIO_InitStruct);

  /*Configure GPIO pin : AUTO_MANUAL_Pin */
  GPIO_InitStruct.Pin = AUTO_MANUAL_Pin;
  GPIO_InitStruct.Mode = GPIO_MODE_INPUT;
  GPIO_InitStruct.Pull = GPIO_PULLDOWN;
  HAL_GPIO_Init(AUTO_MANUAL_GPIO_Port, &GPIO_InitStruct);

  /*Configure GPIO pin : KEYA_HUSSAM_SEL_Pin */
  GPIO_InitStruct.Pin = KEYA_HUSSAM_SEL_Pin;
  GPIO_InitStruct.Mode = GPIO_MODE_INPUT;
  GPIO_InitStruct.Pull = GPIO_NOPULL;
  HAL_GPIO_Init(KEYA_HUSSAM_SEL_GPIO_Port, &GPIO_InitStruct);

  /*Configure GPIO pin : RC_CH3_Pin */
  GPIO_InitStruct.Pin = RC_CH3_Pin;
  GPIO_InitStruct.Mode = GPIO_MODE_INPUT;
  GPIO_InitStruct.Pull = GPIO_PULLDOWN;
  HAL_GPIO_Init(RC_CH3_GPIO_Port, &GPIO_InitStruct);

  /*Configure GPIO pin : RPM_SENSOR_Pin */
  GPIO_InitStruct.Pin = RPM_SENSOR_Pin;
  GPIO_InitStruct.Mode = GPIO_MODE_IT_RISING;
  GPIO_InitStruct.Pull = GPIO_NOPULL;
  HAL_GPIO_Init(RPM_SENSOR_GPIO_Port, &GPIO_InitStruct);

  /*Configure GPIO pin : CL57T_DIR_Pin */
  GPIO_InitStruct.Pin = CL57T_DIR_Pin;
  GPIO_InitStruct.Mode = GPIO_MODE_OUTPUT_PP;
  GPIO_InitStruct.Pull = GPIO_NOPULL;
  GPIO_InitStruct.Speed = GPIO_SPEED_FREQ_LOW;
  HAL_GPIO_Init(CL57T_DIR_GPIO_Port, &GPIO_InitStruct);

}

/* USER CODE BEGIN 4 */

void HAL_UART_TxCpltCallback(UART_HandleTypeDef *huart)
{
    if (huart->Instance == LPUART1)
    {
        uart_tx_busy = 0;
        // Re-arm receive after transmit completes
        HAL_UART_Receive_IT(&hlpuart1, jetson_rx_buf, 1);
    }
}

//uint16_t AS5600_ReadAngle(void)
//{
//    uint8_t buf[2] = {0, 0};
//    uint8_t reg = 0x0E;
//    HAL_StatusTypeDef status;
//
//    status = HAL_I2C_Master_Transmit(&hi2c1, 0x36 << 1, &reg, 1, 5);
//    if (status != HAL_OK)
//    {
//        HAL_I2C_DeInit(&hi2c1);
//        HAL_Delay(1);
//        HAL_I2C_Init(&hi2c1);
//        return as5600_angle_raw; // return last known value
//    }
//
//    status = HAL_I2C_Master_Receive(&hi2c1, 0x36 << 1, buf, 2, 5);
//    if (status != HAL_OK)
//    {
//        HAL_I2C_DeInit(&hi2c1);
//        HAL_Delay(1);
//        HAL_I2C_Init(&hi2c1);
//        return as5600_angle_raw; // return last known value
//    }
//
//    return ((uint16_t)(buf[0] & 0x0F) << 8) | buf[1];
//} **changed

uint16_t AS5600_ReadAngle(void)
{
    static uint8_t fail_count = 0;
    uint8_t buf[2] = {0};
    uint8_t reg = 0x0E;

    if (HAL_I2C_Master_Transmit(&hi2c1, 0x36<<1, &reg, 1, 5) != HAL_OK ||
        HAL_I2C_Master_Receive(&hi2c1, 0x36<<1, buf, 2, 5) != HAL_OK)
    {
        fail_count++;
        if (fail_count > 5)
            stepper_target = 0;
        if (fail_count > 20)
        {
            fail_count = 0;
            HAL_I2C_DeInit(&hi2c1);
            HAL_Delay(1);
            HAL_I2C_Init(&hi2c1);
        }
        return as5600_angle_raw; // return last known on failure
    }

    fail_count = 0;
    uint16_t new_val = ((uint16_t)(buf[0] & 0x0F) << 8) | buf[1];

    // Reject raw=0 — safe for our steering range
    if (new_val == 0)
        return as5600_angle_raw;

    return new_val;
}

uint8_t crc8_smbus(uint8_t *data, uint8_t len)
{
    uint8_t crc = 0x00;
    for (uint8_t i = 0; i < len; i++)
    {
        crc ^= data[i];
        for (uint8_t b = 0; b < 8; b++)
            crc = (crc & 0x80) ? (crc << 1) ^ 0x07 : (crc << 1);
    }
    return crc;
}

void HAL_UART_RxCpltCallback(UART_HandleTypeDef *huart)
{
    if (huart->Instance == LPUART1)
    {
        uint8_t byte = jetson_rx_buf[0];

        if (byte == JETSON_START_BYTE && jetson_frame_idx != 0)
            jetson_frame_idx = 0;

        jetson_frame[jetson_frame_idx++] = byte;

        if (jetson_frame_idx == JETSON_FRAME_LEN)
        {
            jetson_frame_idx = 0;

            if (jetson_frame[0] != JETSON_START_BYTE)
            {
                HAL_UART_Receive_IT(&hlpuart1, jetson_rx_buf, 1);
                return;
            }

            uint8_t crc = crc8_smbus(&jetson_frame[1], 3);
            if (crc != jetson_frame[4])
            {
                HAL_UART_Receive_IT(&hlpuart1, jetson_rx_buf, 1);
                return;
            }

            uint8_t cmd  = jetson_frame[2];
            uint8_t data = jetson_frame[3];
            jetson_last_valid = HAL_GetTick();

            switch (cmd)
            {
                case CMD_IDLE:
                    __HAL_TIM_SET_COMPARE(&htim3, TIM_CHANNEL_3, 0);
                    __HAL_TIM_SET_COMPARE(&htim3, TIM_CHANNEL_1, 1833);
                    target_speed_kmh = 0.0f;
                    speed_error_integral = 0.0f;
                    displayed_target_speed = 0.0f;
                    jetson_active = 0;
                    break;

                case CMD_BRAKE:
                    jetson_active = 1;
                    if (data > 0)
                        __HAL_TIM_SET_COMPARE(&htim3, TIM_CHANNEL_1, 500);
                    else
                        __HAL_TIM_SET_COMPARE(&htim3, TIM_CHANNEL_1, 1833);
                    __HAL_TIM_SET_COMPARE(&htim3, TIM_CHANNEL_3, 0);
                    target_speed_kmh = 0.0f;
                    speed_error_integral = 0.0f;
                    displayed_target_speed = 0.0f;

                    break;

                case CMD_THROTTLE:
                    jetson_active = 1;
                    target_speed_kmh = ((float)data / 255.0f) * SPEED_MAX_KMH;
                    __HAL_TIM_SET_COMPARE(&htim3, TIM_CHANNEL_1, 1833);
                    break;

                case CMD_STEER:
                    {
                    	jetson_active = 1;
                        float jetson_angle = -((float)data - 127.5f) * (2.0f * JETSON_STEER_MAX_DEG) / 255.0f;
                        float left_limit  = STEERING_LEFT_DEG  - STEERING_ZERO_DEG;
                        float right_limit = STEERING_RIGHT_DEG - STEERING_ZERO_DEG;
                        if (jetson_angle < left_limit)  jetson_angle = left_limit;
                        if (jetson_angle > right_limit) jetson_angle = right_limit;
                        target_angle_deg = jetson_angle;
                    }
                    break;
            }

            //uint8_t ack = cmd; *changed ack removed
            //HAL_UART_Transmit(&hlpuart1, &ack, 1, 100);
        }

        HAL_UART_Receive_IT(&hlpuart1, jetson_rx_buf, 1);
    }
}

void HAL_TIM_PeriodElapsedCallback(TIM_HandleTypeDef *htim)
{
    if (htim->Instance == TIM17)
    {
        if (stepper_target == 1)
        {
            HAL_GPIO_WritePin(CL57T_DIR_GPIO_Port, CL57T_DIR_Pin, GPIO_PIN_SET);
            HAL_GPIO_WritePin(CL57T_STEP_GPIO_Port, CL57T_STEP_Pin, GPIO_PIN_SET);
            DWT_DELAY_US(3); // 3µs — meets CL57T 2.5µs minimum **changed
            HAL_GPIO_WritePin(CL57T_STEP_GPIO_Port, CL57T_STEP_Pin, GPIO_PIN_RESET);
            __HAL_TIM_SET_AUTORELOAD(&htim17, stepper_delay_us);
        }
        else if (stepper_target == -1)
        {
            HAL_GPIO_WritePin(CL57T_DIR_GPIO_Port, CL57T_DIR_Pin, GPIO_PIN_RESET);
            HAL_GPIO_WritePin(CL57T_STEP_GPIO_Port, CL57T_STEP_Pin, GPIO_PIN_SET);
            DWT_DELAY_US(3); // 3µs — meets CL57T 2.5µs minimum **changed
            HAL_GPIO_WritePin(CL57T_STEP_GPIO_Port, CL57T_STEP_Pin, GPIO_PIN_RESET);
            __HAL_TIM_SET_AUTORELOAD(&htim17, stepper_delay_us);
        }
        else
        {
            __HAL_TIM_SET_AUTORELOAD(&htim17, 9999);
        }
    }
}

void update_speed(void)
{
    uint32_t now = HAL_GetTick();

    if ((now - rpm_last_tick) > SPEED_TIMEOUT_MS)
    {
        speed_kmh *= 0.85f;
        if (speed_kmh < 0.1f) speed_kmh = 0.0f;
        speed_rpm = 0.0f;
        return;
    }

    if (!tim2_new_pulse) return;
    tim2_new_pulse = 0;

    float interval_s = tim2_interval_us * 1e-6f;
    if (interval_s <= 0.0001f) return;

    float pulse_hz = 1.0f / interval_s;
    float rev_hz = pulse_hz / PULSES_PER_REV;
    speed_rpm = rev_hz * 60.0f;
    float raw_speed = rev_hz * WHEEL_CIRCUMFERENCE * 3.6f;

    float alpha;
    if (raw_speed <= 1.5f) alpha = 0.10f;
    else if (raw_speed >= 40.0f) alpha = 0.85f;
    else alpha = 0.10f + (raw_speed - 1.5f) / (40.0f - 1.5f) * (0.85f - 0.10f);

    speed_kmh = alpha * raw_speed + (1.0f - alpha) * speed_kmh;
    distance_km = (total_pulses / (float)PULSES_PER_REV) * WHEEL_CIRCUMFERENCE / 1000.0f;
    rpm_last_tick = now;
}

void HAL_TIM_IC_CaptureCallback(TIM_HandleTypeDef *htim)
{
    // TIM2 CH1 — RPM sensor input capture
    if (htim->Instance == TIM2 && htim->Channel == HAL_TIM_ACTIVE_CHANNEL_1)
    {
        uint32_t capture = HAL_TIM_ReadCapturedValue(htim, TIM_CHANNEL_1);
        uint32_t interval = capture - tim2_last_capture; // 32-bit no overflow needed
        tim2_last_capture = capture;
        if (interval > 30000)
        {
            tim2_interval_us = interval;
            tim2_new_pulse = 1;
            tim2_led_pulse = 1;
            total_pulses++;
            rpm_last_tick = HAL_GetTick(); // ← add this
        }

    }

    // TIM1 — RC input capture
    if (htim->Instance == TIM1)
    {
        // CH1 — RC steering
        if (htim->Channel == HAL_TIM_ACTIVE_CHANNEL_1)
        {
            static uint8_t ch1_state = 0;
            if (ch1_state == 0)
            {
                rc_ch1_rising = HAL_TIM_ReadCapturedValue(htim, TIM_CHANNEL_1);
                ch1_state = 1;
            }
            else
            {
                uint32_t falling = HAL_TIM_ReadCapturedValue(htim, TIM_CHANNEL_1);
                rc_ch1_pulse = (falling >= rc_ch1_rising) ? (falling - rc_ch1_rising) : (65535 - rc_ch1_rising + falling);
                rc_ch1_ready = 1;
                ch1_state = 0;
            }
        }

        // CH2 — RC throttle
        if (htim->Channel == HAL_TIM_ACTIVE_CHANNEL_2)
        {
            static uint8_t ch2_state = 0;
            if (ch2_state == 0)
            {
                rc_ch2_rising = HAL_TIM_ReadCapturedValue(htim, TIM_CHANNEL_2);
                ch2_state = 1;
            }
            else
            {
                uint32_t falling = HAL_TIM_ReadCapturedValue(htim, TIM_CHANNEL_2);
                rc_ch2_pulse = (falling >= rc_ch2_rising) ? (falling - rc_ch2_rising) : (65535 - rc_ch2_rising + falling);
                rc_ch2_ready = 1;
                ch2_state = 0;
            }
        }
    }
}

int _write(int file, char *ptr, int len)
{
    HAL_UART_Transmit(&huart3, (uint8_t*)ptr, len, 100);
    return len;
}

/* USER CODE END 4 */

 /* MPU Configuration */

void MPU_Config(void)
{
  MPU_Region_InitTypeDef MPU_InitStruct = {0};

  /* Disables the MPU */
  HAL_MPU_Disable();

  /** Initializes and configures the Region and the memory to be protected
  */
  MPU_InitStruct.Enable = MPU_REGION_ENABLE;
  MPU_InitStruct.Number = MPU_REGION_NUMBER0;
  MPU_InitStruct.BaseAddress = 0x0;
  MPU_InitStruct.Size = MPU_REGION_SIZE_4GB;
  MPU_InitStruct.SubRegionDisable = 0x87;
  MPU_InitStruct.TypeExtField = MPU_TEX_LEVEL0;
  MPU_InitStruct.AccessPermission = MPU_REGION_NO_ACCESS;
  MPU_InitStruct.DisableExec = MPU_INSTRUCTION_ACCESS_DISABLE;
  MPU_InitStruct.IsShareable = MPU_ACCESS_SHAREABLE;
  MPU_InitStruct.IsCacheable = MPU_ACCESS_NOT_CACHEABLE;
  MPU_InitStruct.IsBufferable = MPU_ACCESS_NOT_BUFFERABLE;

  HAL_MPU_ConfigRegion(&MPU_InitStruct);
  /* Enables the MPU */
  HAL_MPU_Enable(MPU_PRIVILEGED_DEFAULT);

}

void Error_Handler(void)
{
  __disable_irq();
  while (1)
  {
  }
}
